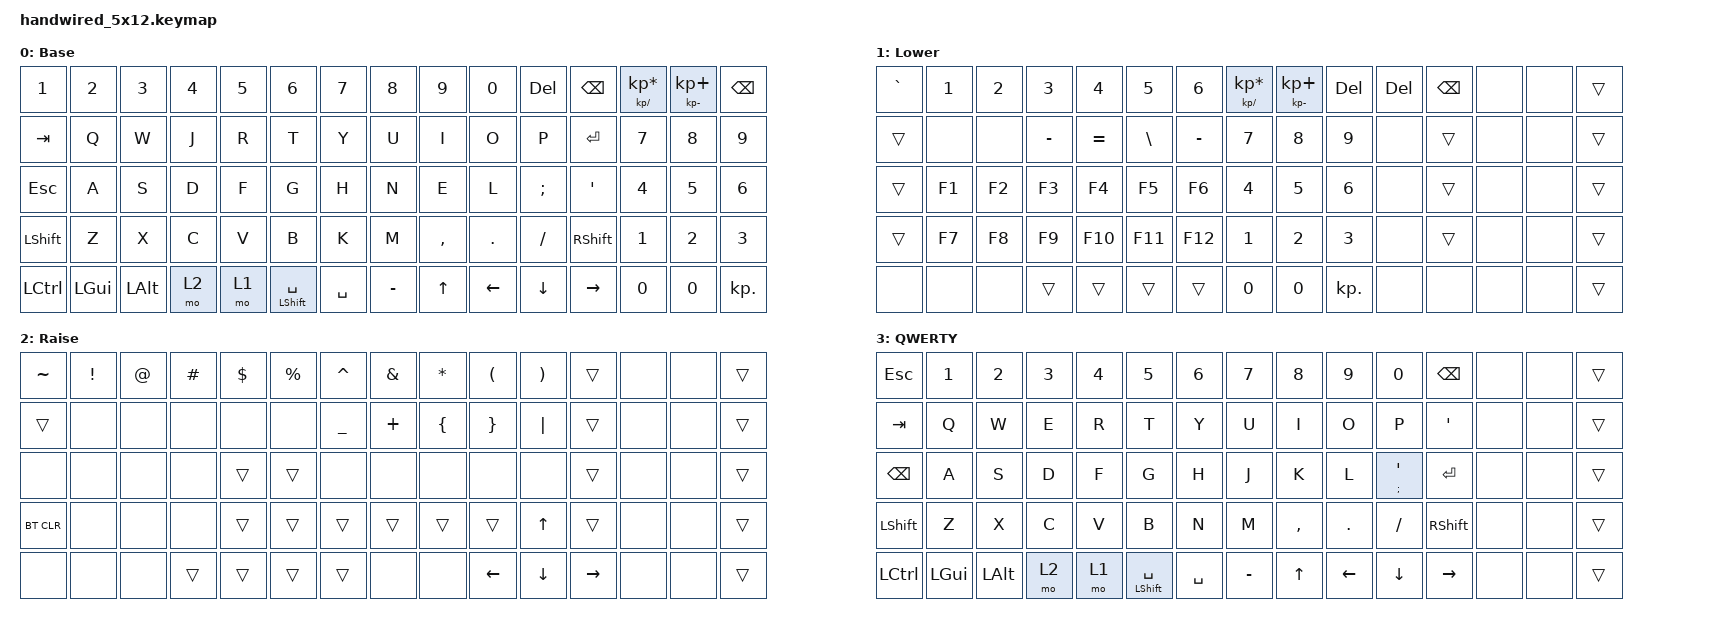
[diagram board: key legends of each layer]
#include <behaviors.dtsi>
#include <dt-bindings/zmk/keys.h>
#include <dt-bindings/zmk/bt.h>

/ {
    keymap {
        compatible = "zmk,keymap";

        default_layer {
            display-name = "Base";
            bindings = <
                &kp N1     &kp N2   &kp N3   &kp N4    &kp N5  &kp N6           &kp N7    &kp N8     &kp N9    &kp N0    &kp DEL      &kp BSPC  &mt KP_DIVIDE KP_MULTIPLY  &mt KP_MINUS KP_PLUS &kp BSPC
                &kp TAB    &kp Q    &kp W    &kp J     &kp R   &kp T            &kp Y     &kp U      &kp I     &kp O     &kp P        &kp RET   &kp N7                     &kp N8               &kp N9
                &kp ESC    &kp A    &kp S    &kp D     &kp F   &kp G            &kp H     &kp N      &kp E     &kp L     &kp SEMI     &kp SQT   &kp N4                     &kp N5               &kp N6
                &kp LSHFT  &kp Z    &kp X    &kp C     &kp V   &kp B            &kp K     &kp M      &kp COMMA &kp DOT   &kp FSLH     &kp RSHFT &kp N1                     &kp N2               &kp N3
                &kp LCTRL  &kp LGUI &kp LALT &mo 2     &mo 1   &mt LSHFT SPACE  &kp SPACE &kp MINUS  &kp UP    &kp LEFT  &kp DOWN     &kp RIGHT &kp N0                     &kp N0               &kp KP_DOT
            >;
        };

        lower_layer {
            display-name = "Lower";
            bindings = <
                &kp GRAVE  &kp N1  &kp N2  &kp N3    &kp N4    &kp N5    &kp N6     &mt KP_DIVIDE KP_MULTIPLY  &mt KP_MINUS KP_PLUS &kp DEL    &kp DEL    &kp BSPC &none    &none    &trans
                &trans     &none   &none   &kp MINUS &kp EQUAL &kp BSLH  &kp MINUS  &kp N7                     &kp N8               &kp N9     &none      &trans &none    &none    &trans
                &trans     &kp F1  &kp F2  &kp F3    &kp F4    &kp F5    &kp F6     &kp N4                     &kp N5               &kp N6     &none      &trans &none    &none    &trans
                &trans     &kp F7  &kp F8  &kp F9    &kp F10   &kp F11   &kp F12    &kp N1                     &kp N2               &kp N3     &none      &trans &none    &none    &trans
                &none      &none   &none   &trans    &trans    &trans    &trans     &kp N0                     &kp N0               &kp KP_DOT &none      &none &none    &none    &trans
            >;
        };

        raise_layer {
            display-name = "Raise";
            bindings = <
                &kp TILDE   &kp EXCL     &kp AT        &kp HASH     &kp DLLR     &kp PRCNT    &kp CARET &kp AMPS &kp STAR &kp LPAR &kp RPAR &trans &none    &none    &trans
                &trans      &none        &none         &none        &none        &none        &kp UNDER &kp PLUS &kp LBRC &kp RBRC &kp PIPE &trans &none    &none    &trans
                &none       &none        &none         &none        &trans       &trans       &none     &none    &none    &none    &none    &trans &none    &none    &trans
                &bt BT_CLR       &none        &none         &none        &trans       &trans       &trans    &trans   &trans   &trans   &kp UP   &trans &none    &none    &trans
                &none       &none        &none         &trans       &trans       &trans       &trans    &none    &none    &kp LEFT &kp DOWN &kp RIGHT &none    &none    &trans
            >;
        };
 
        qwerty_layer {
            display-name = "QWERTY";
            bindings = <
                &kp ESC    &kp N1   &kp N2   &kp N3    &kp N4  &kp N5           &kp N6    &kp N7     &kp N8    &kp N9    &kp N0    &kp BSPC &none    &none    &trans
                &kp TAB    &kp Q    &kp W    &kp E     &kp R   &kp T            &kp Y     &kp U      &kp I     &kp O     &kp P     &kp SQT &none    &none    &trans
                &kp BSPC   &kp A    &kp S    &kp D     &kp F   &kp G            &kp H     &kp J      &kp K     &kp L     &mt SEMI SQT &kp RET &none    &none    &trans
                &kp LSHFT  &kp Z    &kp X    &kp C     &kp V   &kp B            &kp N     &kp M      &kp COMMA &kp DOT   &kp FSLH  &kp RSHFT &none    &none    &trans
                &kp LCTRL  &kp LGUI &kp LALT &mo 2     &mo 1   &mt LSHFT SPACE  &kp SPACE &kp MINUS  &kp UP    &kp LEFT  &kp DOWN  &kp RIGHT &none    &none    &trans
            >;
        };
    };
    combos {
        compatible = "zmk,combos";
    
        combo_studio_unlock {
            timeout-ms = <50>;
            key-positions = <0 1>;  // Top-left two keys
            bindings = <&studio_unlock>;
        };
    
        combo_del {
            timeout-ms = <50>;
            key-positions = <10 11>;
            bindings = <&kp DEL>;
        };
        
        combo_toggle_qwerty {
            timeout-ms = <50>;
            key-positions = <57 59>;
            bindings = <&tog 3>;
        };
    };
};
